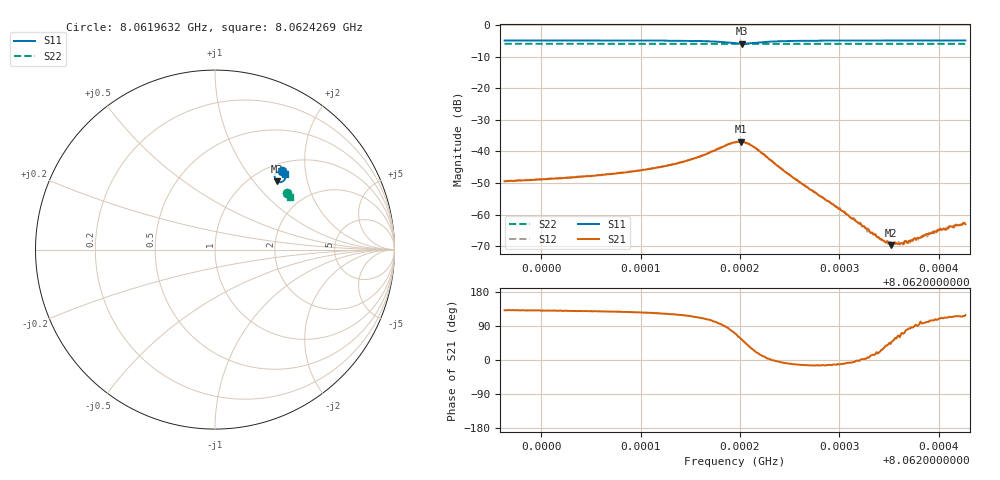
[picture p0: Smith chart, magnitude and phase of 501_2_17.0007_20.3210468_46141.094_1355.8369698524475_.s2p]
#  HZ  S  RI  R  50.00
! Rohde & Schwarz Vector Network Analyzer
! Rohde-Schwarz,ZNB20-2Port,1311601062101988,3.16
! Created: UTC 3/20/2024, 11:14:36 PM
! freq[Hz]  re:S11  im:S11  re:S21  im:S21  re:S12  im:S12  re:S22  im:S22
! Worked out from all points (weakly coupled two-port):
!   401 points, 8.0619632 GHz to 8.0624269 GHz, reference 50 ohm
!   highest |S21| = -36.88 dB at 8.0622009 GHz (marker M1); lowest = -69.8 dB at 8.0623516 GHz (marker M2)
!   lowest |S11| = -5.8 dB at 8.062202 GHz (marker M3), VSWR 3.11, Z = 64 + j66.3 ohm
!   |S11| at or under -10 dB: nowhere
!   |S22| runs from -5.9 to -5.8 dB; largest |S21 - S12| = 0.001
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8.06196321e9  0.3746 0.4376  -0.00222 0.00253  -0.00208 0.00271  0.4025 0.3137
8.06204088e9  0.3806 0.4317  -0.00252 0.00308  -0.00234 0.00325  0.4052 0.3098
8.0620861e9  0.3849 0.427  -0.0028 0.00374  -0.0026 0.00393  0.407 0.3072
8.06211856e9  0.3884 0.4214  -0.00306 0.0047  -0.00283 0.00492  0.408 0.3054
8.06215218e9  0.392 0.41  -0.00319 0.00684  -0.00281 0.00713  0.4093 0.3032
8.06217884e9  0.3872 0.3892  -0.00122 0.011  -0.000692 0.0113  0.4097 0.3012
8.06219507e9  0.3619 0.3757  0.00477 0.0132  0.00557 0.0129  0.4088 0.3
8.06220087e9  0.3476 0.3796  0.00793 0.0119  0.00854 0.0115  0.4085 0.3003
8.06220203e9  0.3447 0.3812  0.00847 0.0114  0.00915 0.011  0.4085 0.3002
8.06220783e9  0.3349 0.3932  0.0103 0.00839  0.011 0.00783  0.4084 0.3006
8.06221478e9  0.3326 0.4095  0.0106 0.00472  0.0109 0.00405  0.4088 0.3011
8.06224608e9  0.3577 0.4353  0.00464 -0.000681  0.00466 -0.000964  0.4113 0.3004
8.06227275e9  0.3697 0.4349  0.00232 -0.000578  0.00232 -0.000742  0.4127 0.299
8.06230289e9  0.3769 0.4325  0.00112 -0.000206  0.00111 -0.000296  0.414 0.2972
8.06233999e9  0.3823 0.4296  0.000404 0.000149  0.000406 0.000125  0.4153 0.2951
8.06235042e9  0.3836 0.4287  0.000249 0.000251  0.00029 0.000214  0.4156 0.2946
8.06235158e9  0.3837 0.4288  0.000239 0.000218  0.00028 0.000239  0.4158 0.2946
8.06235506e9  0.3841 0.4284  0.000214 0.000287  0.000238 0.000243  0.4159 0.2946
8.06236202e9  0.3849 0.4281  0.000134 0.000324  0.000158 0.000324  0.4162 0.2942
8.06237129e9  0.3858 0.4273  4.47e-05 0.000373  8e-05 0.000353  0.4165 0.2936
8.06239911e9  0.3882 0.4255  -0.000165 0.000545  -0.000167 0.000553  0.4174 0.292
8.06242694e9  0.3905 0.4238  -0.000335 0.000617  -0.000291 0.000664  0.4185 0.2907
